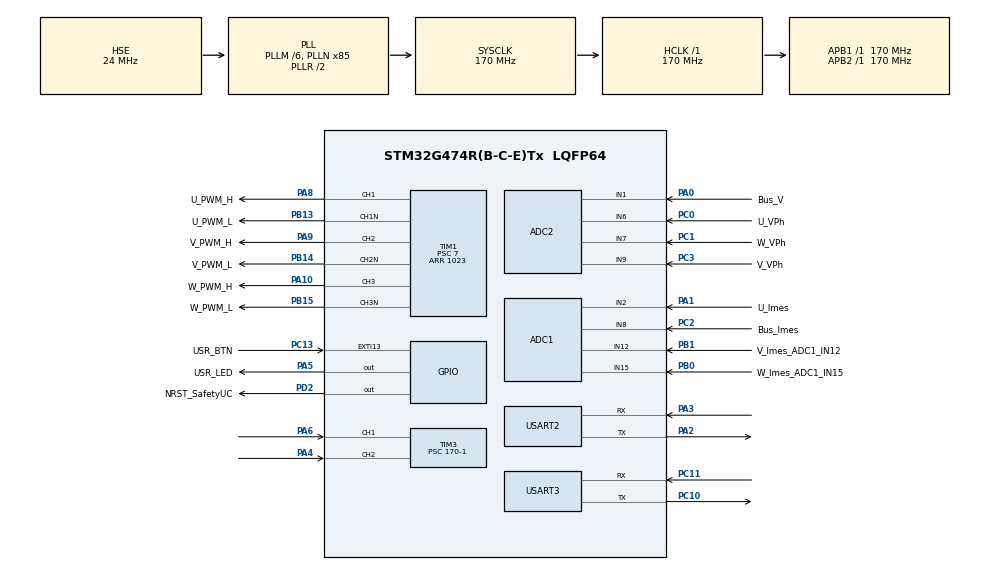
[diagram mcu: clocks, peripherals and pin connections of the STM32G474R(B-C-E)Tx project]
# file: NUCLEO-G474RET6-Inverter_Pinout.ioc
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ADC1.Channel-0\#ChannelRegularConversion=ADC_CHANNEL_2
ADC1.ClockPrescaler=ADC_CLOCK_SYNC_PCLK_DIV4
ADC1.DMAContinuousRequests=ENABLE
ADC1.ExternalTrigConv=ADC_EXTERNALTRIG_T1_TRGO
ADC1.NbrOfConversion=1
ADC1.NbrOfConversionFlag=1
ADC1.OffsetNumber-0\#ChannelRegularConversion=ADC_OFFSET_NONE
ADC1.OversamplingMode=DISABLE
ADC1.Rank-0\#ChannelRegularConversion=1
ADC1.SamplingTime-0\#ChannelRegularConversion=ADC_SAMPLETIME_47CYCLES_5
ADC1.master=1
ADC2.Channel-0\#ChannelRegularConversion=ADC_CHANNEL_1
ADC2.NbrOfConversionFlag=1
ADC2.OffsetNumber-0\#ChannelRegularConversion=ADC_OFFSET_NONE
ADC2.Rank-0\#ChannelRegularConversion=1
ADC2.SamplingTime-0\#ChannelRegularConversion=ADC_SAMPLETIME_2CYCLES_5
Dma.ADC1.0.Direction=DMA_PERIPH_TO_MEMORY
Dma.ADC1.0.EventEnable=DISABLE
Dma.ADC1.0.Instance=DMA1_Channel1
Dma.ADC1.0.MemDataAlignment=DMA_MDATAALIGN_HALFWORD
Dma.ADC1.0.MemInc=DMA_MINC_ENABLE
Dma.ADC1.0.Mode=DMA_CIRCULAR
Dma.ADC1.0.PeriphDataAlignment=DMA_PDATAALIGN_HALFWORD
Dma.ADC1.0.PeriphInc=DMA_PINC_DISABLE
Dma.ADC1.0.Polarity=HAL_DMAMUX_REQ_GEN_RISING
Dma.ADC1.0.Priority=DMA_PRIORITY_LOW
Dma.ADC1.0.RequestNumber=1
Dma.ADC1.0.SignalID=NONE
Dma.ADC1.0.SyncEnable=DISABLE
Dma.ADC1.0.SyncPolarity=HAL_DMAMUX_SYNC_NO_EVENT
Dma.ADC1.0.SyncRequestNumber=1
Dma.ADC1.0.SyncSignalID=NONE
Dma.Request0=ADC1
Mcu.Family=STM32G4
Mcu.Name=STM32G474R(B-C-E)Tx
Mcu.Package=LQFP64
NVIC.DMA1_Channel1_IRQn=true\:0\:0\:false\:false\:true\:false\:true\:true
NVIC.EXTI15_10_IRQn=true\:0\:0\:false\:false\:true\:true\:true\:true
NVIC.PriorityGroup=NVIC_PRIORITYGROUP_4
NVIC.TIM3_IRQn=true\:0\:0\:false\:false\:true\:true\:true\:true
NVIC.TIM7_DAC_IRQn=true\:0\:0\:false\:false\:true\:true\:true\:true
NVIC.USART2_IRQn=true\:0\:0\:false\:false\:true\:true\:true\:true
NVIC.USART3_IRQn=true\:0\:0\:false\:false\:true\:true\:true\:true
PA0.GPIO_Label=Bus_V
PA0.Mode=IN1-Single-Ended
PA0.Signal=ADC2_IN1
PA1.GPIO_Label=U_Imes
PA1.Mode=IN2-Single-Ended
PA1.Signal=ADC1_IN2
PA10.GPIO_Label=W_PWM_H
PA10.Signal=S_TIM1_CH3
PA13.GPIO_Label=T_SWDIO
PA13.Mode=Serial_Wire
PA13.Signal=SYS_JTMS-SWDIO
PA14.GPIO_Label=T_SWCLK
PA14.Mode=Serial_Wire
PA14.Signal=SYS_JTCK-SWCLK
PA2.Mode=Asynchronous
PA2.Signal=USART2_TX
PA3.Mode=Asynchronous
PA3.Signal=USART2_RX
PA4.Signal=S_TIM3_CH2
PA5.GPIO_Label=USR_LED
PA5.Signal=GPIO_Output
PA6.Signal=S_TIM3_CH1
PA8.GPIO_Label=U_PWM_H
PA8.Signal=S_TIM1_CH1
PA9.GPIO_Label=V_PWM_H
PA9.Signal=S_TIM1_CH2
PB0.GPIO_Label=W_Imes_ADC1_IN15
PB0.Mode=IN15-Single-Ended
PB0.Signal=ADC1_IN15
PB1.GPIO_Label=V_Imes_ADC1_IN12
PB1.Mode=IN12-Single-Ended
PB1.Signal=ADC1_IN12
PB13.GPIO_Label=U_PWM_L
PB13.Mode=PWM Generation1 CH1 CH1N
PB13.Signal=TIM1_CH1N
PB14.GPIO_Label=V_PWM_L
PB14.Mode=PWM Generation2 CH2 CH2N
PB14.Signal=TIM1_CH2N
PB15.GPIO_Label=W_PWM_L
PB15.Mode=PWM Generation3 CH3 CH3N
PB15.Signal=TIM1_CH3N
PB3.GPIO_Label=T_SWO
PB3.Signal=SYS_JTDO-SWO
PC0.GPIO_Label=U_VPh
PC0.Mode=IN6-Single-Ended
PC0.Signal=ADC2_IN6
PC1.GPIO_Label=W_VPh
PC1.Mode=IN7-Single-Ended
PC1.Signal=ADC2_IN7
PC10.Mode=Asynchronous
PC10.Signal=USART3_TX
PC11.Mode=Asynchronous
PC11.Signal=USART3_RX
PC13.GPIO_Label=USR_BTN
PC13.Signal=GPXTI13
PC14-OSC32_IN.Mode=LSE-External-Oscillator
PC14-OSC32_IN.Signal=RCC_OSC32_IN
PC15-OSC32_OUT.Mode=LSE-External-Oscillator
PC15-OSC32_OUT.Signal=RCC_OSC32_OUT
PC2.GPIO_Label=Bus_Imes
PC2.Mode=IN8-Single-Ended
PC2.Signal=ADC1_IN8
PC3.GPIO_Label=V_VPh
PC3.Mode=IN9-Single-Ended
PC3.Signal=ADC2_IN9
PC8.Signal=S_TIM3_CH3
PD2.GPIO_Label=NRST_SafetyUC
PD2.Signal=GPIO_Output
PF0-OSC_IN.Mode=HSE-External-Oscillator
PF0-OSC_IN.Signal=RCC_OSC_IN
PF1-OSC_OUT.Mode=HSE-External-Oscillator
PF1-OSC_OUT.Signal=RCC_OSC_OUT
ProjectManager.HeapSize=0x200
ProjectManager.StackSize=0x400
ProjectManager.TargetToolchain=STM32CubeIDE
RCC.ADC12Freq_Value=170000000
RCC.ADC345Freq_Value=170000000
RCC.AHBFreq_Value=170000000
RCC.APB1Freq_Value=170000000
RCC.APB1TimFreq_Value=170000000
RCC.APB2Freq_Value=170000000
RCC.APB2TimFreq_Value=170000000
RCC.CortexFreq_Value=170000000
RCC.EXTERNAL_CLOCK_VALUE=12288000
RCC.HCLKFreq_Value=170000000
RCC.HSE_VALUE=24000000
RCC.HSI48_VALUE=48000000
RCC.HSI_VALUE=16000000
RCC.PLLM=RCC_PLLM_DIV6
RCC.PLLN=85
RCC.PLLSourceVirtual=RCC_PLLSOURCE_HSE
RCC.RTCClockSelection=RCC_RTCCLKSOURCE_LSE
RCC.SYSCLKFreq_VALUE=170000000
RCC.SYSCLKSource=RCC_SYSCLKSOURCE_PLLCLK
RCC.USBFreq_Value=170000000
RCC.VCOOutputFreq_Value=340000000
SH.S_TIM1_CH1.0=TIM1_CH1,PWM Generation1 CH1 CH1N
SH.S_TIM1_CH2.0=TIM1_CH2,PWM Generation2 CH2 CH2N
SH.S_TIM1_CH3.0=TIM1_CH3,PWM Generation3 CH3 CH3N
SH.S_TIM3_CH1.0=TIM3_CH1,Encoder_Interface
SH.S_TIM3_CH2.0=TIM3_CH2,Encoder_Interface
SH.S_TIM3_CH3.0=TIM3_CH3
TIM1.AsymmetricalDeadTime=DISABLE
TIM1.Channel-PWM\ Generation1\ CH1\ CH1N=TIM_CHANNEL_1
TIM1.Channel-PWM\ Generation2\ CH2\ CH2N=TIM_CHANNEL_2
TIM1.Channel-PWM\ Generation3\ CH3\ CH3N=TIM_CHANNEL_3
TIM1.CounterMode=TIM_COUNTERMODE_CENTERALIGNED1
TIM1.DeadTime=50
TIM1.DeadTimePreload=DISABLE
TIM1.OffStateRunMode=TIM_OSSR_DISABLE
TIM1.PeriodNoDither=1023
TIM1.Prescaler=7
TIM1.PulseNoDither_1=0
TIM1.TIM_MasterOutputTrigger=TIM_TRGO_UPDATE
TIM1.TIM_MasterSlaveMode=TIM_MASTERSLAVEMODE_ENABLE
TIM3.AutoReloadPreload=TIM_AUTORELOAD_PRELOAD_DISABLE
TIM3.CounterMode=TIM_COUNTERMODE_UP
TIM3.Dithering=Disable
TIM3.EncoderMode=TIM_ENCODERMODE_TI12
TIM3.IC1Filter=0
TIM3.IC1Polarity=TIM_ICPOLARITY_FALLING
TIM3.IC2Polarity=TIM_ICPOLARITY_FALLING
TIM3.PeriodNoDither=50-1
TIM3.Prescaler=170-1
TIM3.TIM_MasterSlaveMode=TIM_MASTERSLAVEMODE_DISABLE
TIM7.AutoReloadPreload=TIM_AUTORELOAD_PRELOAD_DISABLE
TIM7.PeriodNoDither=0
TIM7.Prescaler=170
TIM7.TIM_MasterOutputTrigger=TIM_TRGO_UPDATE
USART2.VirtualMode-Asynchronous=VM_ASYNC
USART3.VirtualMode-Asynchronous=VM_ASYNC
VP_SYS_VS_DBSignals.Mode=DisableDeadBatterySignals
VP_TIM1_VS_ClockSourceINT.Mode=Internal
VP_TIM7_VS_ClockSourceINT.Mode=Enable_Timer
board=NUCLEO-G474RE

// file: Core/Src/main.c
/* USER CODE BEGIN Header */
/**
 * \file main.c
 * \brief Ce fichier contient une procédure de remplissage d'une table "speed_table" qui permet de "filtrer" les valeurs mesurées de la vitesse du moteur. Il contient aussi deux callbacks dans le USER CODE n°4 qui permettent de remplir le buffer où est stockée la valeur de la tension image du courant ainsi que de calculer le nombre de tours effectués par le moteur à un instanté.
 * \author Paul-Etienne Rétaux
 * \date 30 octobre 2023
 *
 *
 */
/* USER CODE END Header */
#include "main.h"
#include "adc.h"
#include "dma.h"
#include "tim.h"
#include "usart.h"
#include "gpio.h"

/* USER CODE BEGIN Includes */
#include "mylibs/shell.h"
#include <math.h>
/* USER CODE END Includes */

/* USER CODE BEGIN PV */
uint32_t timeout = 100; //
float number_of_rotations = 0.0;
uint32_t counter = 0;
uint32_t count = 0;
float speed_table[100];
uint32_t ADC_buffer[ADC_BUF_SIZE];
uint8_t current_flag = 0; // flag used for the current computation callback
uint8_t speed_flag = 0; // flag used for the speed computation callback
/* USER CODE END PV */

void SystemClock_Config(void);

int main(void)
{
  /* USER CODE BEGIN 1 */
	for(int i=0;i<100;i++){
		speed_table[i] = 0.0; // speed_table is used for computing a mean speed
	}
  /* USER CODE END 1 */

  /* MCU Configuration--------------------------------------------------------*/

  /* Reset of all peripherals, Initializes the Flash interface and the Systick. */
  HAL_Init();

  /* Configure the system clock */
  SystemClock_Config();

  /* Initialize all configured peripherals */
  MX_GPIO_Init();
  MX_DMA_Init();
  MX_ADC2_Init();
  MX_ADC1_Init();
  MX_TIM1_Init();
  MX_TIM3_Init();
  MX_USART2_UART_Init();
  MX_USART3_UART_Init();
  MX_TIM7_Init();
  /* USER CODE BEGIN 2 */
	Shell_Init();
	if (HAL_ADCEx_Calibration_Start(&hadc1, ADC_SINGLE_ENDED) != HAL_OK)
		Error_Handler();
	if (HAL_ADC_Start_DMA(&hadc1, ADC_buffer, ADC_BUF_SIZE) != HAL_OK)
		Error_Handler();
//	if(HAL_TIM_Base_Start(&htim3) != HAL_OK)
//		Error_Handler();
	if (HAL_TIM_Encoder_Start_IT(&htim3, TIM_CHANNEL_ALL) != HAL_OK)
		Error_Handler();

  /* USER CODE END 2 */

  /* Infinite loop */
  /* USER CODE BEGIN WHILE */
	while (1) {
		Shell_Loop();

    /* USER CODE END WHILE */

	}
}

void SystemClock_Config(void)
{
  RCC_OscInitTypeDef RCC_OscInitStruct = {0};
  RCC_ClkInitTypeDef RCC_ClkInitStruct = {0};

  /** Configure the main internal regulator output voltage
  */
  HAL_PWREx_ControlVoltageScaling(PWR_REGULATOR_VOLTAGE_SCALE1_BOOST);

  /** Initializes the RCC Oscillators according to the specified parameters
  * in the RCC_OscInitTypeDef structure.
  */
  RCC_OscInitStruct.OscillatorType = RCC_OSCILLATORTYPE_HSE;
  RCC_OscInitStruct.HSEState = RCC_HSE_ON;
  RCC_OscInitStruct.PLL.PLLState = RCC_PLL_ON;
  RCC_OscInitStruct.PLL.PLLSource = RCC_PLLSOURCE_HSE;
  RCC_OscInitStruct.PLL.PLLM = RCC_PLLM_DIV6;
  RCC_OscInitStruct.PLL.PLLN = 85;
  RCC_OscInitStruct.PLL.PLLP = RCC_PLLP_DIV2;
  RCC_OscInitStruct.PLL.PLLQ = RCC_PLLQ_DIV2;
  RCC_OscInitStruct.PLL.PLLR = RCC_PLLR_DIV2;
  if (HAL_RCC_OscConfig(&RCC_OscInitStruct) != HAL_OK)
  {
    Error_Handler();
  }

  /** Initializes the CPU, AHB and APB buses clocks
  */
  RCC_ClkInitStruct.ClockType = RCC_CLOCKTYPE_HCLK|RCC_CLOCKTYPE_SYSCLK
                              |RCC_CLOCKTYPE_PCLK1|RCC_CLOCKTYPE_PCLK2;
  RCC_ClkInitStruct.SYSCLKSource = RCC_SYSCLKSOURCE_PLLCLK;
  RCC_ClkInitStruct.AHBCLKDivider = RCC_SYSCLK_DIV1;
  RCC_ClkInitStruct.APB1CLKDivider = RCC_HCLK_DIV1;
  RCC_ClkInitStruct.APB2CLKDivider = RCC_HCLK_DIV1;

  if (HAL_RCC_ClockConfig(&RCC_ClkInitStruct, FLASH_LATENCY_4) != HAL_OK)
  {
    Error_Handler();
  }
}

/* USER CODE BEGIN 4 */
void HAL_ADC_ConvCpltCallback(ADC_HandleTypeDef *hadc) {
	//			if(HAL_ADC_Stop_DMA(&hadc1) != HAL_OK)
	//				Error_Handler();
	current_flag = 1;
}

void HAL_TIM_IC_CaptureCallback(TIM_HandleTypeDef *htim) {
	if (htim->Instance == TIM3) {
		counter = __HAL_TIM_GET_COUNTER(htim);
//			count = (int16_t) counter;
		if (__HAL_TIM_IS_TIM_COUNTING_DOWN(htim)) {
			count = COUNTER_ARR - counter;
		} else {
			count = counter;
		}
		number_of_rotations = (count + 0.0) / 4096;
		speed_flag = 1;
	}
}
/* USER CODE END 4 */

void Error_Handler(void)
{
	__disable_irq();
	while (1) {
	}
}
